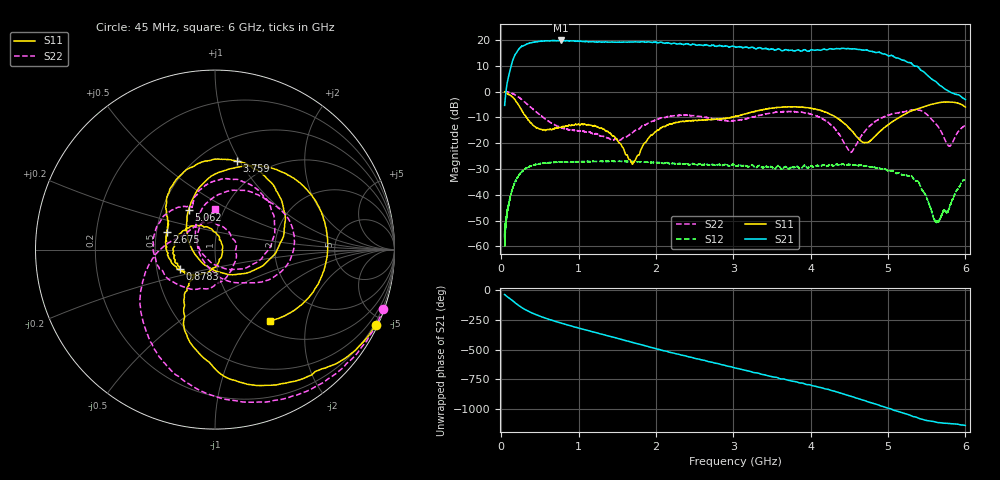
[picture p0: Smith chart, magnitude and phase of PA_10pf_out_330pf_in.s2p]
!Agilent Technologies,E8364A,US41440144,A.06.04.32
!Agilent E8364A: A.06.04.32
!Date: Thursday, November 08, 2018 15:18:09
!Correction: S11(Full 2 Port(1,2)) S21(Full 2 Port(1,2)) S12(Full 2 Port(1,2)) S22(Full 2 Port(1,2))
!S2P File: Measurements: S11, S21, S12, S22:
# Hz S  dB  R 50
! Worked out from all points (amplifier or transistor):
!   16001 points, 45 MHz to 6 GHz, reference 50 ohm
!   highest |S21| = 19.8 dB at 771.5 MHz (marker M1)
!   |S21| within 3 dB of that: 239.1 MHz to 3.273 GHz (3.034 GHz wide, 173 % of centre)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
!   unconditionally stable (mu >= 1): start of sweep to 47.23 MHz; 47.24 MHz to 48.49 MHz; 49.05 MHz to end of sweep
!   at 1.037 GHz: K = 1.28, MAG = 20.1 dB, |S12| = -27.1 dB
!   at 3.022 GHz: K = 1.71, MAG = 18.1 dB, |S12| = -28.7 dB
!   at 6 GHz: K = 25.39, MAG = -1.7 dB, |S12| = -33.9 dB
!   S11 on the Smith chart (normalised r, x): 45 MHz: 0.10, -4.49; 878.3 MHz: 0.66, -0.15; 2.675 GHz: 0.57, +0.12; 3.759 GHz: 0.73, +0.97; 5.062 GHz: 0.68, +0.32; 6 GHz: 1.17, -1.24
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4.5e7  -0.08 -25.1  -5.32 -38.6  -55.07 164.2  -0.05 -19.4
2.165784e8  -4.82 -100.0  15.93 -125.1  -32.98 71.0  -1.92 -93.6
3.915066e8  -12.27 -127.0  18.96 169.0  -28.73 11.0  -6.26 -149.0
5.86905e8  -14.78 -128.3  19.68 120.5  -27.64 -34.9  -10.93 176.0
7.7151e8  -13.85 -140.1  19.83 82.8  -27.33 -69.0  -13.92 158.1
8.783278e8  -12.98 -150.9  19.61 62.6  -27.19 -86.8  -14.79 150.1
1.037624e9  -12.66 -173.4  19.44 34.0  -27.13 -111.8  -15.40 132.0
1.330163e9  -14.56 135.6  19.19 -15.7  -27.06 -155.8  -17.41 71.1
1.615631e9  -24.51 66.4  19.16 -65.8  -27.05 162.1  -17.55 -36.8
2.030248e9  -14.90 -130.0  18.98 -137.3  -27.49 102.9  -10.65 -141.5
2.316832e9  -11.62 -170.5  18.63 176.1  -27.89 63.8  -9.18 171.8
2.675249e9  -10.84 159.7  17.91 119.7  -28.40 15.6  -10.13 130.7
3.0225e9  -9.63 144.7  17.37 65.5  -28.65 -32.0  -11.29 117.0
3.354491e9  -7.13 120.9  16.95 14.3  -28.95 -77.2  -9.10 101.4
3.758687e9  -5.88 76.2  16.04 -44.6  -29.33 -124.7  -7.74 58.3
4.015124e9  -6.55 42.5  16.22 -80.9  -28.82 -161.0  -8.89 23.2
4.257418e9  -8.81 4.8  16.67 -120.7  -28.21 162.9  -12.78 -20.2
4.549213e9  -15.71 -58.7  16.57 -177.2  -28.42 114.0  -22.61 -162.6
5.007748e9  -12.71 132.3  13.90 87.6  -30.85 27.3  -9.10 70.2
5.061715e9  -11.58 123.7  13.86 74.7  -30.66 16.2  -8.60 61.8
5.477821e9  -5.67 64.1  7.24 -11.6  -39.68 -85.3  -8.26 -18.8
6e9  -6.01 -52.3  -3.11 -56.4  -33.92 -111.4  -13.00 89.9
